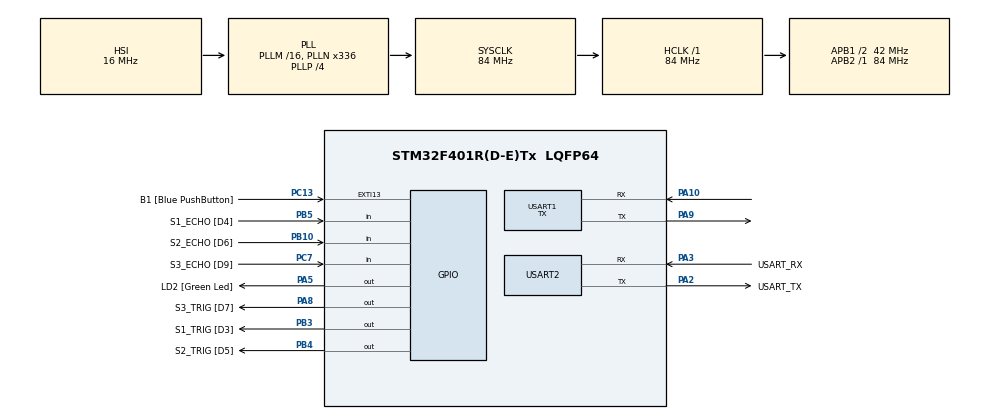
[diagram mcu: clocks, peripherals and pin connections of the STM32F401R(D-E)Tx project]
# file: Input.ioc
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Mcu.Family=STM32F4
Mcu.Name=STM32F401R(D-E)Tx
Mcu.Package=LQFP64
NVIC.PriorityGroup=NVIC_PRIORITYGROUP_0
PA10.Mode=Asynchronous
PA10.Signal=USART1_RX
PA13.GPIO_Label=TMS
PA13.Mode=Serial_Wire
PA13.Signal=SYS_JTMS-SWDIO
PA14.GPIO_Label=TCK
PA14.Mode=Serial_Wire
PA14.Signal=SYS_JTCK-SWCLK
PA2.GPIO_Label=USART_TX
PA2.GPIO_Mode=GPIO_MODE_AF_PP
PA2.GPIO_PuPd=GPIO_NOPULL
PA2.GPIO_Speed=GPIO_SPEED_FREQ_LOW
PA2.Mode=Asynchronous
PA2.Signal=USART2_TX
PA3.GPIO_Label=USART_RX
PA3.GPIO_Mode=GPIO_MODE_AF_PP
PA3.GPIO_PuPd=GPIO_NOPULL
PA3.GPIO_Speed=GPIO_SPEED_FREQ_LOW
PA3.Mode=Asynchronous
PA3.Signal=USART2_RX
PA5.GPIO_Label=LD2 [Green Led]
PA5.GPIO_Mode=GPIO_MODE_OUTPUT_PP
PA5.GPIO_PuPd=GPIO_NOPULL
PA5.GPIO_Speed=GPIO_SPEED_FREQ_LOW
PA5.Signal=GPIO_Output
PA8.GPIO_Label=S3_TRIG [D7]
PA8.Signal=GPIO_Output
PA9.Mode=Asynchronous
PA9.Signal=USART1_TX
PB10.GPIO_Label=S2_ECHO [D6]
PB10.Signal=GPIO_Input
PB3.GPIO_Label=S1_TRIG [D3]
PB3.Signal=GPIO_Output
PB4.GPIO_Label=S2_TRIG [D5]
PB4.Signal=GPIO_Output
PB5.GPIO_Label=S1_ECHO [D4]
PB5.Signal=GPIO_Input
PC13-ANTI_TAMP.GPIO_Label=B1 [Blue PushButton]
PC13-ANTI_TAMP.GPIO_ModeDefaultEXTI=GPIO_MODE_IT_FALLING
PC13-ANTI_TAMP.GPIO_PuPd=GPIO_NOPULL
PC13-ANTI_TAMP.Signal=GPXTI13
PC14-OSC32_IN.Mode=LSE-External-Oscillator
PC14-OSC32_IN.Signal=RCC_OSC32_IN
PC15-OSC32_OUT.Mode=LSE-External-Oscillator
PC15-OSC32_OUT.Signal=RCC_OSC32_OUT
PC7.GPIO_Label=S3_ECHO [D9]
PC7.Signal=GPIO_Input
PH0\ -\ OSC_IN.Mode=HSE-External-Clock-Source
PH0\ -\ OSC_IN.Signal=RCC_OSC_IN
PH1\ -\ OSC_OUT.Mode=HSE-External-Clock-Source
PH1\ -\ OSC_OUT.Signal=RCC_OSC_OUT
ProjectManager.HeapSize=0x200
ProjectManager.StackSize=0x400
ProjectManager.TargetToolchain=STM32CubeIDE
RCC.48MHZClocksFreq_Value=48000000
RCC.AHBFreq_Value=84000000
RCC.APB1CLKDivider=RCC_HCLK_DIV2
RCC.APB1Freq_Value=42000000
RCC.APB1TimFreq_Value=84000000
RCC.APB2Freq_Value=84000000
RCC.APB2TimFreq_Value=84000000
RCC.CortexFreq_Value=84000000
RCC.HCLKFreq_Value=84000000
RCC.HSE_VALUE=8000000
RCC.HSI_VALUE=16000000
RCC.PLLN=336
RCC.PLLP=RCC_PLLP_DIV4
RCC.PLLQ=7
RCC.SYSCLKFreq_VALUE=84000000
RCC.SYSCLKSource=RCC_SYSCLKSOURCE_PLLCLK
RCC.VCOOutputFreq_Value=336000000
TIM1.Prescaler=84-1
USART1.Mode=MODE_TX
USART1.VirtualMode=VM_ASYNC
USART2.VirtualMode=VM_ASYNC
VP_TIM1_VS_ClockSourceINT.Mode=Internal
board=NUCLEO-F401RE

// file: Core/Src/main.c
/* USER CODE BEGIN Header */
/**
  ******************************************************************************
  * @file           : main.c
  * @brief          : Main program body
  ******************************************************************************
  * @attention
  *
  * Copyright (c) 2024 STMicroelectronics.
  * All rights reserved.
  *
  * This software is licensed under terms that can be found in the LICENSE file
  * in the root directory of this software component.
  * If no LICENSE file comes with this software, it is provided AS-IS.
  *
  ******************************************************************************
  */
/* USER CODE END Header */
#include "main.h"

/* USER CODE BEGIN Includes */
#include <string.h>
#include <stdio.h>
/* USER CODE END Includes */

TIM_HandleTypeDef htim1;

UART_HandleTypeDef huart1;
UART_HandleTypeDef huart2;

void SystemClock_Config(void);
static void MX_GPIO_Init(void);
static void MX_USART2_UART_Init(void);
static void MX_TIM1_Init(void);
static void MX_USART1_UART_Init(void);
/* USER CODE BEGIN PFP */
// Helper Function Declarations
int _write(int file, char *data, int len);
void delay_us(uint16_t us);

// Core Function Declaratons
float measure_pulse_duration(GPIO_TypeDef* GPIOx, uint16_t GPIO_Pin);
void send_trigger_pulse(GPIO_TypeDef* GPIOx, uint16_t GPIO_Pin);
float measure_distance(GPIO_TypeDef* TRIG_GPIOx, uint16_t TRIG_GPIO_Pin,
					   GPIO_TypeDef* ECHO_GPIOx, uint16_t ECHO_GPIO_Pin);
/* USER CODE END PFP */

/* USER CODE BEGIN 0 */
// Measurement Variables
float s1_duration;
float s1_distance_cm;
float s2_duration;
float s2_distance_cm;
float s3_duration;
float s3_distance_cm;

/* USER CODE END 0 */

int main(void)
{

  /* MCU Configuration--------------------------------------------------------*/

  /* Reset of all peripherals, Initializes the Flash interface and the Systick. */
  HAL_Init();

  /* Configure the system clock */
  SystemClock_Config();

  /* Initialize all configured peripherals */
  MX_GPIO_Init();
  MX_USART2_UART_Init();
  MX_TIM1_Init();
  MX_USART1_UART_Init();
  /* USER CODE BEGIN 2 */
  // Start Timer 1 after peripherals are initialized
  HAL_TIM_Base_Start(&htim1);
  // Variables for UART [NOTE: make sure to declare in main()])
  char *condition;  // Set up a variable that can be modified to store data before TX/RX
  char UART1_txBuffer[20];  // Set up a buffer string to transmit data
  // Sensor Parameters
  float side_threshold = 40.00f;
  float top_threshold = 30.00f;
  // Sensor States
  uint8_t s1_safe;
  uint8_t s2_safe;
  uint8_t s3_safe;

  /* USER CODE END 2 */

  /* Infinite loop */
  /* USER CODE BEGIN WHILE */
  while (1)
  {
	// Sensor 1 (Top) Measurement
	s1_distance_cm = measure_distance(GPIOB, GPIO_PIN_3,
									  GPIOB, GPIO_PIN_5);
	// Sensor 2 (Left) Measurement
	s2_distance_cm = measure_distance(GPIOB, GPIO_PIN_4,
									  GPIOB, GPIO_PIN_10);
	// Sensor 3 (Right) Measurement
	s3_distance_cm = measure_distance(GPIOA, GPIO_PIN_8,
									  GPIOC, GPIO_PIN_7);

	// Print distance measurements (cm) with two decimal places
	printf("Sensor 1 (Top) Distance: %.2f cm\r\n", s1_distance_cm);
	printf("Sensor 2 (Left) Distance: %.2f cm\r\n", s2_distance_cm);
	printf("Sensor 3 (Right) Distance: %.2f cm\r\n", s3_distance_cm);

	// Determine states of each sensor
	if (s1_distance_cm  >= top_threshold) {
		s1_safe = 1;
	} else {
		s1_safe = 0;
	}
	if (s2_distance_cm >= side_threshold) {
		s2_safe = 1;
	} else {
		s2_safe = 0;
	}
	if (s3_distance_cm >= side_threshold) {
		s3_safe = 1;
	} else {
		s3_safe = 0;
	}

	/// Determine condition for Output MCU
	// Check if car is pulled in correctly
	if ( s1_safe == 0 ) {
		condition = "Move back";
	// Once car is pulled in, check if car is within side parking lines
	} else if (s1_safe == 1) {
		if ( (s2_safe == 1) && (s3_safe == 1) ) {
			condition = "Success";
		} else if ( s2_safe == 0 ) {
			condition = "Move right";
		} else {
			condition = "Move left";
		}
	}

	/// TX
	// Format the message and package it up in the buffer
    sprintf(UART1_txBuffer, "%s", condition);
	// Transmit to Output MCU
	HAL_UART_Transmit(&huart1, (uint8_t*)UART1_txBuffer, 20, HAL_MAX_DELAY);

	// Wait to send the next trigger pulse to avoid overlapping of measurements (min 25 us)
	HAL_Delay(1000);

    /* USER CODE END WHILE */

  }
}

void SystemClock_Config(void)
{
  RCC_OscInitTypeDef RCC_OscInitStruct = {0};
  RCC_ClkInitTypeDef RCC_ClkInitStruct = {0};

  /** Configure the main internal regulator output voltage
  */
  __HAL_RCC_PWR_CLK_ENABLE();
  __HAL_PWR_VOLTAGESCALING_CONFIG(PWR_REGULATOR_VOLTAGE_SCALE2);

  /** Initializes the RCC Oscillators according to the specified parameters
  * in the RCC_OscInitTypeDef structure.
  */
  RCC_OscInitStruct.OscillatorType = RCC_OSCILLATORTYPE_HSI;
  RCC_OscInitStruct.HSIState = RCC_HSI_ON;
  RCC_OscInitStruct.HSICalibrationValue = RCC_HSICALIBRATION_DEFAULT;
  RCC_OscInitStruct.PLL.PLLState = RCC_PLL_ON;
  RCC_OscInitStruct.PLL.PLLSource = RCC_PLLSOURCE_HSI;
  RCC_OscInitStruct.PLL.PLLM = 16;
  RCC_OscInitStruct.PLL.PLLN = 336;
  RCC_OscInitStruct.PLL.PLLP = RCC_PLLP_DIV4;
  RCC_OscInitStruct.PLL.PLLQ = 7;
  if (HAL_RCC_OscConfig(&RCC_OscInitStruct) != HAL_OK)
  {
    Error_Handler();
  }

  /** Initializes the CPU, AHB and APB buses clocks
  */
  RCC_ClkInitStruct.ClockType = RCC_CLOCKTYPE_HCLK|RCC_CLOCKTYPE_SYSCLK
                              |RCC_CLOCKTYPE_PCLK1|RCC_CLOCKTYPE_PCLK2;
  RCC_ClkInitStruct.SYSCLKSource = RCC_SYSCLKSOURCE_PLLCLK;
  RCC_ClkInitStruct.AHBCLKDivider = RCC_SYSCLK_DIV1;
  RCC_ClkInitStruct.APB1CLKDivider = RCC_HCLK_DIV2;
  RCC_ClkInitStruct.APB2CLKDivider = RCC_HCLK_DIV1;

  if (HAL_RCC_ClockConfig(&RCC_ClkInitStruct, FLASH_LATENCY_2) != HAL_OK)
  {
    Error_Handler();
  }
}

static void MX_TIM1_Init(void)
{

  TIM_ClockConfigTypeDef sClockSourceConfig = {0};
  TIM_MasterConfigTypeDef sMasterConfig = {0};

  htim1.Instance = TIM1;
  htim1.Init.Prescaler = 84-1;
  htim1.Init.CounterMode = TIM_COUNTERMODE_UP;
  htim1.Init.Period = 65535;
  htim1.Init.ClockDivision = TIM_CLOCKDIVISION_DIV1;
  htim1.Init.RepetitionCounter = 0;
  htim1.Init.AutoReloadPreload = TIM_AUTORELOAD_PRELOAD_DISABLE;
  if (HAL_TIM_Base_Init(&htim1) != HAL_OK)
  {
    Error_Handler();
  }
  sClockSourceConfig.ClockSource = TIM_CLOCKSOURCE_INTERNAL;
  if (HAL_TIM_ConfigClockSource(&htim1, &sClockSourceConfig) != HAL_OK)
  {
    Error_Handler();
  }
  sMasterConfig.MasterOutputTrigger = TIM_TRGO_RESET;
  sMasterConfig.MasterSlaveMode = TIM_MASTERSLAVEMODE_DISABLE;
  if (HAL_TIMEx_MasterConfigSynchronization(&htim1, &sMasterConfig) != HAL_OK)
  {
    Error_Handler();
  }

}

static void MX_USART1_UART_Init(void)
{

  huart1.Instance = USART1;
  huart1.Init.BaudRate = 115200;
  huart1.Init.WordLength = UART_WORDLENGTH_8B;
  huart1.Init.StopBits = UART_STOPBITS_1;
  huart1.Init.Parity = UART_PARITY_NONE;
  huart1.Init.Mode = UART_MODE_TX;
  huart1.Init.HwFlowCtl = UART_HWCONTROL_NONE;
  huart1.Init.OverSampling = UART_OVERSAMPLING_16;
  if (HAL_UART_Init(&huart1) != HAL_OK)
  {
    Error_Handler();
  }

}

static void MX_USART2_UART_Init(void)
{

  huart2.Instance = USART2;
  huart2.Init.BaudRate = 115200;
  huart2.Init.WordLength = UART_WORDLENGTH_8B;
  huart2.Init.StopBits = UART_STOPBITS_1;
  huart2.Init.Parity = UART_PARITY_NONE;
  huart2.Init.Mode = UART_MODE_TX_RX;
  huart2.Init.HwFlowCtl = UART_HWCONTROL_NONE;
  huart2.Init.OverSampling = UART_OVERSAMPLING_16;
  if (HAL_UART_Init(&huart2) != HAL_OK)
  {
    Error_Handler();
  }

}

static void MX_GPIO_Init(void)
{
  GPIO_InitTypeDef GPIO_InitStruct = {0};

  /* GPIO Ports Clock Enable */
  __HAL_RCC_GPIOC_CLK_ENABLE();
  __HAL_RCC_GPIOH_CLK_ENABLE();
  __HAL_RCC_GPIOA_CLK_ENABLE();
  __HAL_RCC_GPIOB_CLK_ENABLE();

  /*Configure GPIO pin Output Level */
  HAL_GPIO_WritePin(GPIOA, LD2_Pin|S3_TRIG_Pin, GPIO_PIN_RESET);

  /*Configure GPIO pin Output Level */
  HAL_GPIO_WritePin(GPIOB, S1_TRIG_Pin|S2_TRIG_Pin, GPIO_PIN_RESET);

  /*Configure GPIO pin : B1_Pin */
  GPIO_InitStruct.Pin = B1_Pin;
  GPIO_InitStruct.Mode = GPIO_MODE_IT_FALLING;
  GPIO_InitStruct.Pull = GPIO_NOPULL;
  HAL_GPIO_Init(B1_GPIO_Port, &GPIO_InitStruct);

  /*Configure GPIO pins : LD2_Pin S3_TRIG_Pin */
  GPIO_InitStruct.Pin = LD2_Pin|S3_TRIG_Pin;
  GPIO_InitStruct.Mode = GPIO_MODE_OUTPUT_PP;
  GPIO_InitStruct.Pull = GPIO_NOPULL;
  GPIO_InitStruct.Speed = GPIO_SPEED_FREQ_LOW;
  HAL_GPIO_Init(GPIOA, &GPIO_InitStruct);

  /*Configure GPIO pins : S2_ECHO_Pin S1_ECHO_Pin */
  GPIO_InitStruct.Pin = S2_ECHO_Pin|S1_ECHO_Pin;
  GPIO_InitStruct.Mode = GPIO_MODE_INPUT;
  GPIO_InitStruct.Pull = GPIO_NOPULL;
  HAL_GPIO_Init(GPIOB, &GPIO_InitStruct);

  /*Configure GPIO pin : S3_ECHO_Pin */
  GPIO_InitStruct.Pin = S3_ECHO_Pin;
  GPIO_InitStruct.Mode = GPIO_MODE_INPUT;
  GPIO_InitStruct.Pull = GPIO_NOPULL;
  HAL_GPIO_Init(S3_ECHO_GPIO_Port, &GPIO_InitStruct);

  /*Configure GPIO pins : S1_TRIG_Pin S2_TRIG_Pin */
  GPIO_InitStruct.Pin = S1_TRIG_Pin|S2_TRIG_Pin;
  GPIO_InitStruct.Mode = GPIO_MODE_OUTPUT_PP;
  GPIO_InitStruct.Pull = GPIO_NOPULL;
  GPIO_InitStruct.Speed = GPIO_SPEED_FREQ_LOW;
  HAL_GPIO_Init(GPIOB, &GPIO_InitStruct);

}

/* USER CODE BEGIN 4 */
/// Helper Function Definitions
// Override printf() to transmit message through UART
int _write(int file, char *data, int len) {
	HAL_UART_Transmit(&huart2, (uint8_t*)data, len, HAL_MAX_DELAY);
	return len;
}
// Create a delay in microseconds (us)
void delay_us (uint16_t time_us) {
	// Reset Timer 1 Counter to initiate new count
	__HAL_TIM_SET_COUNTER(&htim1, 0);
	// Wait for Timer 1 Counter to reach input time in us
	while(__HAL_TIM_GET_COUNTER(&htim1) < time_us);

	return;
}

/// Core Function Definitions
// Initiate sensor time measurement
void send_trigger_pulse(GPIO_TypeDef* GPIOx, uint16_t GPIO_Pin) {
	//Reset Trig Pin to ensure clean signal
	HAL_GPIO_WritePin(GPIOx, GPIO_Pin, GPIO_PIN_RESET);
	delay_us(2);  // Buffer time

	// Send trigger signal to Trig Pin
	HAL_GPIO_WritePin(GPIOx, GPIO_Pin, GPIO_PIN_SET);
	delay_us(10);  // Supply 10 us pulse to start ranging
	HAL_GPIO_WritePin(GPIOx, GPIO_Pin, GPIO_PIN_RESET);
}
// Measure how long Echo Pin is HIGH after being SET from RESET using Timer 1
float measure_pulse_duration(GPIO_TypeDef* GPIOx, uint16_t GPIO_Pin) {
	// Time Measurement Variables
	uint32_t start_time = 0.0;
	uint32_t end_time = 0.0;
	uint32_t pulse_duration_ticks = 0.0;
	float pulse_duration_us = 0.0f;

	// Wait for Echo Pin to be SET (rising edge of pulse)
	while (HAL_GPIO_ReadPin(GPIOx, GPIO_Pin) == GPIO_PIN_RESET);

	// Start timing when Echo Pin is SET
	start_time = __HAL_TIM_GET_COUNTER(&htim1);  // Capture current timer value

	// Wait for Echo Pin to be RESET (falling edge of pulse)
	while (HAL_GPIO_ReadPin(GPIOx, GPIO_Pin) == GPIO_PIN_SET);

	// Capture end time when pin is RESET
	end_time = __HAL_TIM_GET_COUNTER(&htim1);

	// Calculate pulse duration in terms of timer ticks
	if (end_time >= start_time) {
		pulse_duration_ticks = end_time - start_time;
	} else {
		pulse_duration_ticks = (0xFFFFFFFF - start_time) + end_time;  // Handle timer overflow
	}

	// Note: Each timer tick corresponds to 1 microsecond
	// Convert pulse duration from uint32_t to float
	pulse_duration_us = (float)pulse_duration_ticks;  // Cast as float

	return pulse_duration_us;
}

// Measure the distance between object and sensor in centimetres
float measure_distance(GPIO_TypeDef* TRIG_GPIOx, uint16_t TRIG_GPIO_Pin,
					   GPIO_TypeDef* ECHO_GPIOx, uint16_t ECHO_GPIO_Pin) {
    // Distance Measurement Variables
	float sx_duration;
	float sx_distance_cm;

	// Activate sensor measurement
    send_trigger_pulse(TRIG_GPIOx, TRIG_GPIO_Pin);

    /// Return pulse duration in microseconds
    // If SET, waits for the moment pin is SET from RESET
    // Stops timing when pin is RESET (when echo returns to receiver)
    sx_duration = measure_pulse_duration(ECHO_GPIOx, ECHO_GPIO_Pin);

    // Convert to duration to distance in centimetres using d = vt and account for reflection
    sx_distance_cm = ( ( sx_duration * (1.0E-6f) ) * (343.0f) * (100.0f) ) / 2.0f;

	return sx_distance_cm;
}
/* USER CODE END 4 */

void Error_Handler(void)
{
  __disable_irq();
  while (1)
  {
  }
}
